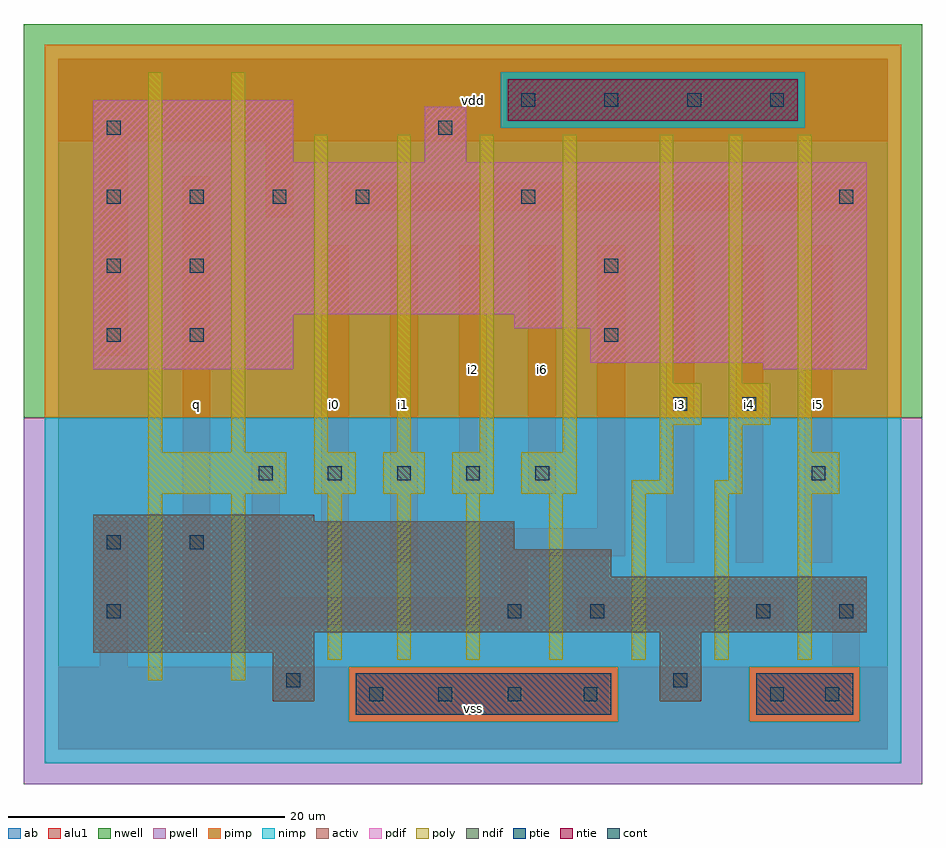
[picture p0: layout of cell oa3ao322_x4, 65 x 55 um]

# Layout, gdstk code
import gdstk
lib = gdstk.Library(unit=1e-6, precision=1e-09)
def R(c, l, rs):  # rectangles x0, y0, x1, y1
    for r in rs: c.add(gdstk.rectangle(r[:2], r[2:], *l))
def A(c, l, x, y, w, h, nx, ny, dx, dy):  # array of equal rectangles
    R(c, l, [(x+i*dx, y+j*dy, x+i*dx+w, y+j*dy+h) for i in range(nx) for j in range(ny)])
ndif = (3, 0)
pdif = (4, 0)
ntie = (5, 0)
ptie = (6, 0)
cont = (25, 0)
pwell = (41, 0)
nwell = (42, 0)
activ = (43, 0)
pimp = (44, 0)
nimp = (45, 0)
poly = (46, 0)
alu1 = (49, 0)
ab = (63, 0)

oa3ao322_x4 = lib.new_cell('oa3ao322_x4')
R(oa3ao322_x4, ndif, [(15.5,3.5,18.5,7), (43.5,3.5,46.5,8.5), (2.5,7,18.5,8.5), (2.5,8.5,58.5,12.5), (2.5,12.5,40,14.5), (2.5,14.5,33,16.5), (2.5,16.5,18.5,17)])
R(oa3ao322_x4, pdif, [(2.5,27.5,17,31.5), (51,27.5,58.5,28), (38.5,28,58.5,30.5), (33,30.5,58.5,31.5), (2.5,31.5,58.5,42.5), (2.5,42.5,17,47), (26.5,42.5,29.5,46.5)])
R(oa3ao322_x4, ntie, [(32.5,45.5,53.5,48.5)])
R(oa3ao322_x4, ptie, [(21.5,2.5,40,5.5), (50.5,2.5,57.5,5.5)])
A(oa3ao322_x4, cont, 22.5, 3.5, 1, 1, 3, 1, 5, 0)
A(oa3ao322_x4, cont, 14.5, 19.5, 1, 1, 5, 1, 5, 0)
A(oa3ao322_x4, cont, 3.5, 39.5, 1, 1, 4, 1, 6, 0)
A(oa3ao322_x4, cont, 33.5, 46.5, 1, 1, 4, 1, 6, 0)
R(oa3ao322_x4, cont, [(38,3.5,39,4.5), (51.5,3.5,52.5,4.5), (55.5,3.5,56.5,4.5), (16.5,4.5,17.5,5.5), (44.5,4.5,45.5,5.5), (3.5,9.5,4.5,10.5), (32.5,9.5,33.5,10.5), (38.5,9.5,39.5,10.5), (50.5,9.5,51.5,10.5), (56.5,9.5,57.5,10.5), (3.5,14.5,4.5,15.5), (9.5,14.5,10.5,15.5), (54.5,19.5,55.5,20.5), (44.5,24.5,45.5,25.5), (49.5,24.5,50.5,25.5), (3.5,29.5,4.5,30.5), (9.5,29.5,10.5,30.5), (39.5,29.5,40.5,30.5), (3.5,34.5,4.5,35.5), (9.5,34.5,10.5,35.5), (39.5,34.5,40.5,35.5), (33.5,39.5,34.5,40.5), (56.5,39.5,57.5,40.5), (3.5,44.5,4.5,45.5), (27.5,44.5,28.5,45.5)])
R(oa3ao322_x4, pwell, [(-2.5,-2.5,62.5,24)])
R(oa3ao322_x4, nwell, [(-2.5,24,62.5,52.5)])
R(oa3ao322_x4, activ, [(21.5,2.5,40,5.5), (50.5,2.5,57.5,5.5), (15.5,3.5,18.5,7), (43.5,3.5,46.5,8.5), (2.5,7,18.5,8.5), (2.5,8.5,58.5,12.5), (2.5,12.5,40,14.5), (2.5,14.5,33,16.5), (2.5,16.5,18.5,17), (2.5,27.5,17,31.5), (51,27.5,58.5,28), (38.5,28,58.5,30.5), (33,30.5,58.5,31.5), (2.5,31.5,58.5,42.5), (2.5,42.5,17,47), (26.5,42.5,29.5,46.5), (32.5,45.5,53.5,48.5)])
R(oa3ao322_x4, pimp, [(21,2,40.5,6), (50,2,58,6), (-1,24,61,45), (-1,45,32,49), (54,45,61,49), (-1,49,61,51)])
R(oa3ao322_x4, nimp, [(-1,-1,61,2), (-1,2,21,6), (40.5,2,50,6), (58,2,61,6), (-1,6,61,24), (32,45,54,49)])
A(oa3ao322_x4, poly, 19.5, 6.5, 1, 12, 3, 1, 5, 0)
A(oa3ao322_x4, poly, 35.5, 6.5, 1, 12, 4, 1, 6, 0)
A(oa3ao322_x4, poly, 18.5, 18.5, 3, 3, 3, 1, 5, 0)
A(oa3ao322_x4, poly, 18.5, 21.5, 1, 23, 4, 1, 6, 0)
R(oa3ao322_x4, poly, [(6.5,5,7.5,18.5), (12.5,5,13.5,18.5), (6.5,18.5,16.5,21.5), (33.5,18.5,37.5,21.5), (41.5,18.5,44.5,19.5), (47.5,18.5,49.5,19.5), (53.5,18.5,56.5,21.5), (43.5,19.5,44.5,23.5), (48.5,19.5,49.5,23.5), (6.5,21.5,7.5,49), (12.5,21.5,13.5,49), (53.5,21.5,54.5,44.5), (43.5,23.5,46.5,26.5), (48.5,23.5,51.5,26.5), (43.5,26.5,44.5,44.5), (48.5,26.5,49.5,44.5)])
R(oa3ao322_x4, alu1, [(0,0,60,6), (0,0,60,6), (3,6,5,16.5), (3,6,5,16.5), (56,6,58,11.5), (56,6,58,11.5), (9,8.5,11,41.5), (9,8.5,11,41.5), (32,8.5,34,9), (32,8.5,34,9), (14,9,34,11), (14,9,34,11), (37.5,9,52.5,11), (37.5,9,52.5,11), (14,11,16,21.5), (14,11,16,21.5), (32,11,34,14), (32,11,34,14), (19,13.5,21,36.5), (19,13.5,21,36.5), (24,13.5,26,36.5), (24,13.5,26,36.5), (44,13.5,46,36.5), (44,13.5,46,36.5), (49,13.5,51,36.5), (49,13.5,51,36.5), (54,13.5,56,36.5), (54,13.5,56,36.5), (32,14,41,16), (32,14,41,16), (39,16,41,36.5), (39,16,41,36.5), (29,18.5,31,36.5), (29,18.5,31,36.5), (34,18.5,36,36.5), (34,18.5,36,36.5), (3,28.5,5,44), (3,28.5,5,44), (15,38.5,17,44), (15,38.5,17,44), (20.5,39,58.5,41), (20.5,39,58.5,41), (0,44,60,50), (0,44,60,50)])
R(oa3ao322_x4, ab, [(0,0,60,50)])
oa3ao322_x4.add(gdstk.Label('q', (10,25), layer=49, texttype=0))
oa3ao322_x4.add(gdstk.Label('i1', (25,25), layer=49, texttype=0))
oa3ao322_x4.add(gdstk.Label('i0', (20,25), layer=49, texttype=0))
oa3ao322_x4.add(gdstk.Label('vss', (30,3), layer=49, texttype=0))
oa3ao322_x4.add(gdstk.Label('i2', (30,27.5), layer=49, texttype=0))
oa3ao322_x4.add(gdstk.Label('i6', (35,27.5), layer=49, texttype=0))
oa3ao322_x4.add(gdstk.Label('vdd', (30,47), layer=49, texttype=0))
oa3ao322_x4.add(gdstk.Label('i4', (50,25), layer=49, texttype=0))
oa3ao322_x4.add(gdstk.Label('i5', (55,25), layer=49, texttype=0))
oa3ao322_x4.add(gdstk.Label('i3', (45,25), layer=49, texttype=0))

lib.write_gds('oa3ao322_x4.gds')
